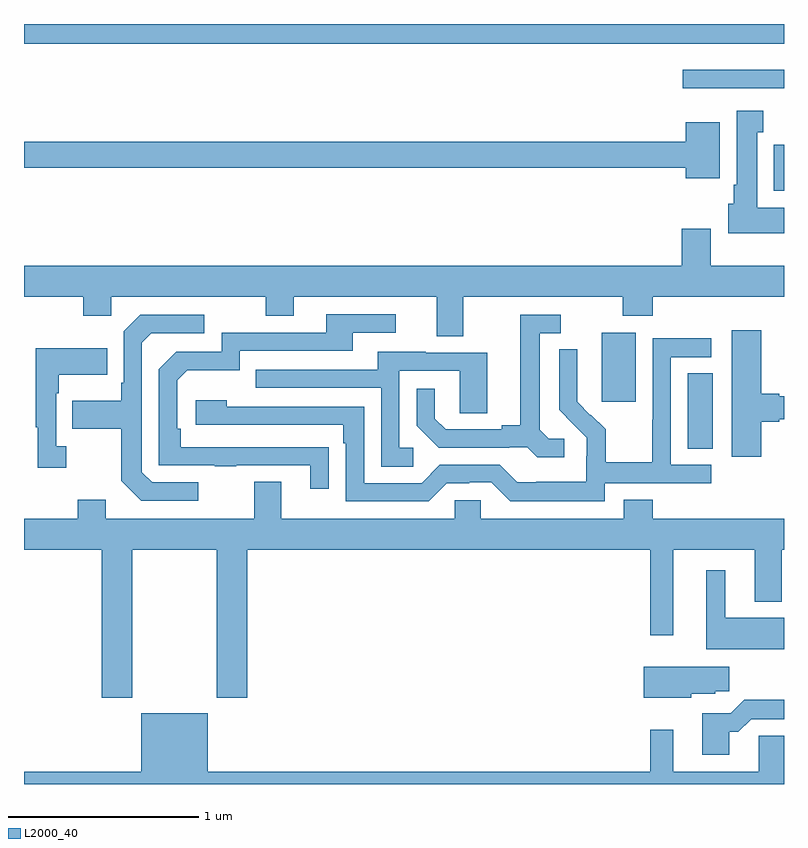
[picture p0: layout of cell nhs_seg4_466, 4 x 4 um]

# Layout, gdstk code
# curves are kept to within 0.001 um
import gdstk
lib = gdstk.Library(unit=1e-6, precision=1e-09)
def R(c, l, rs):  # rectangles x0, y0, x1, y1
    for r in rs: c.add(gdstk.rectangle(r[:2], r[2:], *l))
def P(c, l, *ps):  # polygons
    for p in ps: c.add(gdstk.Polygon(p, *l))
L2000_40 = (2000, 40)

nhs_seg4_466 = lib.new_cell('nhs_seg4_466')
R(nhs_seg4_466, L2000_40, [(136.493,818.665,136.624,819.062), (136.04,818.913,136.219,819.274), (136.946,820.022,137,820.264), (136.467,820.563,137,820.66), (133,820.796,137,820.9)])
P(nhs_seg4_466, L2000_40, [(137,819.934),(136.858,819.934),(136.858,820.331),(136.891,820.331),(136.891,820.444),(136.751,820.444),(136.751,820.054),(136.736,820.054),(136.736,819.954),(136.706,819.954),(136.706,819.8),(137,819.8)],
  [(136.663,820.384),(136.484,820.384),(136.484,820.28),(133,820.28),(133,820.144),(136.484,820.144),(136.484,820.088),(136.663,820.088)],
  [(135.313,819.464),(136.15,819.464),(136.15,819.365),(136.31,819.365),(136.31,819.464),(137,819.464),(137,819.628),(136.615,819.628),(136.615,819.823),(136.463,819.823),(136.463,819.628),(133,819.628),(133,819.464),(133.312,819.464),(133.312,819.365),(133.458,819.365),(133.458,819.464),(134.272,819.464),(134.272,819.365),(134.419,819.365),(134.419,819.464),(135.173,819.464),(135.173,819.256),(135.313,819.256)],
  [(134.603,818.672),(133.826,818.673),(133.826,818.77),(133.806,818.77),(133.806,819.024),(133.859,819.077),(134.136,819.077),(134.136,819.18),(134.731,819.18),(134.731,819.276),(134.956,819.276),(134.956,819.372),(134.591,819.372),(134.591,819.276),(134.04,819.276),(134.04,819.174),(133.8,819.174),(133.71,819.084),(133.71,818.577),(134.005,818.577),(134.005,818.572),(134.117,818.572),(134.117,818.577),(134.507,818.577),(134.507,818.454),(134.603,818.454)],
  [(133.918,818.487),(133.674,818.487),(133.62,818.541),(133.62,819.222),(133.671,819.273),(133.948,819.273),(133.948,819.369),(133.611,819.369),(133.524,819.282),(133.524,819.013),(133.512,819.013),(133.512,818.917),(133.255,818.917),(133.255,818.77),(133.512,818.77),(133.512,818.497),(133.617,818.391),(133.918,818.391)],
  [(135.844,818.718),(135.762,818.718),(135.715,818.765),(135.715,819.273),(135.826,819.273),(135.826,819.369),(135.611,819.369),(135.611,818.789),(135.515,818.789),(135.515,818.766),(135.22,818.766),(135.163,818.823),(135.163,818.98),(135.066,818.98),(135.066,818.786),(135.182,818.67),(135.554,818.67),(135.554,818.673),(135.648,818.673),(135.7,818.621),(135.844,818.621)],
  [(136.879,818.807),(136.975,818.807),(136.975,818.819),(137,818.819),(137,818.941),(136.975,818.941),(136.975,818.954),(136.879,818.954),(136.879,819.289),(136.724,819.289),(136.724,818.622),(136.879,818.622)],
  [(136.056,818.484),(136.618,818.484),(136.618,818.58),(136.404,818.58),(136.404,819.147),(136.618,819.147),(136.618,819.246),(136.308,819.246),(136.308,818.816),(136.306,818.816),(136.306,818.593),(136.061,818.593),(136.061,818.767),(135.984,818.844),(135.981,818.841),(135.911,818.912),(135.912,819.188),(135.816,819.188),(135.816,818.87),(135.962,818.722),(135.962,818.625),(135.96,818.625),(135.96,818.491),(135.697,818.491),(135.697,818.487),(135.597,818.487),(135.504,818.58),(135.189,818.58),(135.093,818.484),(134.79,818.484),(134.79,818.886),(134.066,818.886),(134.066,818.92),(133.905,818.92),(133.905,818.79),(134.681,818.79),(134.681,818.693),(134.694,818.693),(134.694,818.388),(135.129,818.388),(135.225,818.484),(135.344,818.484),(135.344,818.487),(135.459,818.487),(135.559,818.387),(136.056,818.387)],
  [(133.222,818.678),(133.17,818.678),(133.17,818.957),(133.183,818.957),(133.183,819.053),(133.439,819.053),(133.439,819.193),(133.062,819.193),(133.062,818.777),(133.073,818.777),(133.073,818.565),(133.222,818.565)],
  [(135.049,818.67),(134.976,818.67),(134.976,819.075),(135.294,819.075),(135.294,818.851),(135.439,818.851),(135.439,819.171),(135.115,819.171),(135.115,819.175),(134.861,819.175),(134.861,819.081),(134.221,819.081),(134.221,818.985),(134.88,818.985),(134.88,818.569),(135.049,818.569)],
  [(133.569,818.132),(134.014,818.132),(134.014,817.353),(134.174,817.353),(134.174,818.132),(136.296,818.132),(136.296,817.683),(136.417,817.683),(136.417,818.132),(136.847,818.132),(136.847,817.859),(136.987,817.859),(136.987,818.132),(137,818.132),(137,818.296),(136.31,818.296),(136.31,818.395),(136.157,818.395),(136.157,818.296),(135.405,818.296),(135.405,818.394),(135.267,818.394),(135.267,818.296),(134.353,818.296),(134.353,818.491),(134.213,818.491),(134.213,818.296),(133.429,818.296),(133.429,818.395),(133.282,818.395),(133.282,818.296),(133,818.296),(133,818.132),(133.409,818.132),(133.409,817.353),(133.569,817.353)],
  [(137,817.774),(136.69,817.774),(136.69,818.026),(136.592,818.026),(136.592,817.61),(137,817.61)],
  [(136.512,817.376),(136.638,817.376),(136.638,817.387),(136.711,817.387),(136.711,817.516),(136.262,817.516),(136.262,817.355),(136.512,817.355)],
  [(136.711,817.175),(136.76,817.175),(136.827,817.242),(137,817.242),(137,817.343),(136.79,817.343),(136.719,817.272),(136.571,817.272),(136.571,817.053),(136.711,817.053)],
  [(137,817.154),(136.866,817.154),(136.866,816.964),(136.417,816.964),(136.417,817.186),(136.296,817.186),(136.296,816.964),(133.966,816.964),(133.966,817.273),(133.616,817.273),(133.616,816.964),(133,816.964),(133,816.9),(137,816.9)])

lib.write_gds('nhs_seg4_466.gds')
